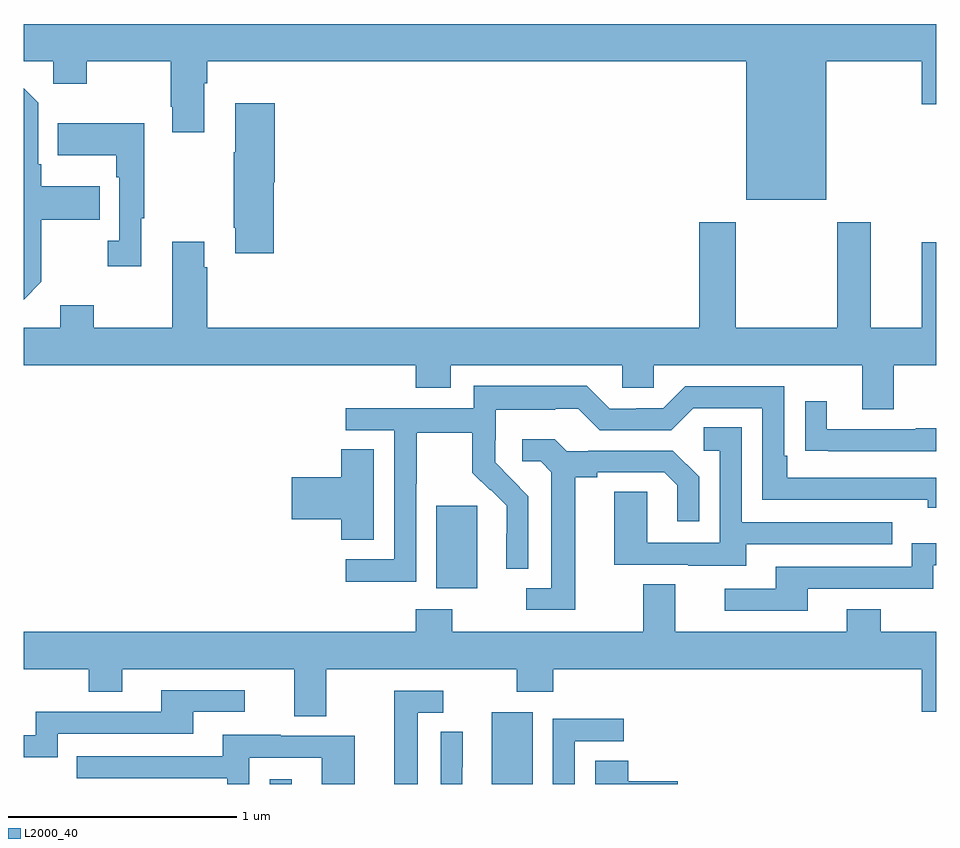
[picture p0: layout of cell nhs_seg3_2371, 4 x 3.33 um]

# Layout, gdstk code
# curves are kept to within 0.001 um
import gdstk
lib = gdstk.Library(unit=1e-6, precision=1e-09)
def R(c, l, rs):  # rectangles x0, y0, x1, y1
    for r in rs: c.add(gdstk.rectangle(r[:2], r[2:], *l))
def P(c, l, *ps):  # polygons
    for p in ps: c.add(gdstk.Polygon(p, *l))
L2000_40 = (2000, 40)

nhs_seg3_2371 = lib.new_cell('nhs_seg3_2371')
R(nhs_seg3_2371, L2000_40, [(234.078,712.4,234.175,712.42), (235.052,712.4,235.231,712.714), (234.809,713.258,234.988,713.619)])
P(nhs_seg3_2371, L2000_40, [(236.518,715.568),(236.936,715.568),(236.936,715.38),(237,715.38),(237,715.732),(233,715.732),(233,715.568),(233.13,715.568),(233.13,715.469),(233.277,715.469),(233.277,715.568),(233.644,715.568),(233.644,715.369),(233.651,715.369),(233.651,715.257),(233.791,715.257),(233.791,715.472),(233.804,715.472),(233.804,715.568),(236.168,715.568),(236.168,714.962),(236.518,714.962)],
  [(233.077,714.601),(233.077,714.874),(233.333,714.874),(233.333,715.021),(233.077,715.021),(233.077,715.117),(233.064,715.117),(233.064,715.386),(233,715.45),(233,714.524)],
  [(234.095,715.038),(234.1,715.038),(234.1,715.384),(233.927,715.384),(233.927,715.169),(233.92,715.169),(233.92,714.838),(233.927,714.838),(233.927,714.726),(234.095,714.726)],
  [(233.515,714.881),(233.527,714.881),(233.527,715.297),(233.149,715.297),(233.149,715.157),(233.406,715.157),(233.406,715.061),(233.418,715.061),(233.418,714.782),(233.367,714.782),(233.367,714.669),(233.515,714.669)],
  [(236.815,714.236),(237,714.236),(237,714.775),(236.936,714.775),(236.936,714.4),(236.713,714.4),(236.713,714.862),(236.566,714.862),(236.566,714.4),(236.121,714.4),(236.121,714.862),(235.961,714.862),(235.961,714.4),(233.804,714.4),(233.804,714.665),(233.791,714.665),(233.791,714.778),(233.651,714.778),(233.651,714.4),(233.307,714.4),(233.307,714.499),(233.159,714.499),(233.159,714.4),(233,714.4),(233,714.236),(234.719,714.236),(234.719,714.137),(234.871,714.137),(234.871,714.236),(235.623,714.236),(235.623,714.138),(235.761,714.138),(235.761,714.236),(236.675,714.236),(236.675,714.042),(236.815,714.042)],
  [(234.72,713.716),(234.723,713.716),(234.723,713.94),(234.967,713.94),(234.967,713.765),(235.044,713.688),(235.047,713.691),(235.118,713.621),(235.118,713.498),(235.116,713.498),(235.116,713.344),(235.212,713.344),(235.212,713.662),(235.066,713.81),(235.066,713.907),(235.068,713.907),(235.068,714.041),(235.331,714.041),(235.331,714.045),(235.431,714.045),(235.524,713.952),(235.839,713.952),(235.935,714.048),(236.238,714.048),(236.238,713.646),(236.963,713.646),(236.963,713.612),(237,713.612),(237,713.742),(236.347,713.742),(236.347,713.839),(236.334,713.839),(236.334,714.144),(235.899,714.144),(235.803,714.048),(235.685,714.048),(235.685,714.045),(235.569,714.045),(235.469,714.145),(234.972,714.145),(234.972,714.048),(234.411,714.048),(234.411,713.952),(234.624,713.952),(234.624,713.385),(234.411,713.385),(234.411,713.287),(234.72,713.287)],
  [(237,713.96),(236.911,713.96),(236.911,713.955),(236.521,713.955),(236.521,714.079),(236.425,714.079),(236.425,713.86),(236.527,713.86),(236.527,713.859),(237,713.859)],
  [(236.167,713.451),(236.807,713.451),(236.807,713.547),(236.148,713.547),(236.148,713.963),(235.98,713.963),(235.98,713.862),(236.052,713.862),(236.052,713.457),(235.734,713.457),(235.734,713.681),(235.589,713.681),(235.589,713.361),(235.913,713.361),(235.913,713.357),(236.167,713.357)],
  [(235.417,713.744),(235.513,713.744),(235.513,713.766),(235.808,713.766),(235.865,713.709),(235.865,713.553),(235.962,713.553),(235.962,713.746),(235.846,713.862),(235.474,713.862),(235.474,713.859),(235.38,713.859),(235.328,713.911),(235.185,713.911),(235.185,713.814),(235.266,713.814),(235.313,713.767),(235.313,713.259),(235.203,713.259),(235.203,713.163),(235.417,713.163)],
  [(234.535,713.867),(234.392,713.867),(234.392,713.744),(234.174,713.744),(234.174,713.561),(234.392,713.561),(234.392,713.47),(234.535,713.47)],
  [(236.437,713.256),(236.988,713.256),(236.988,713.358),(237,713.358),(237,713.455),(236.892,713.455),(236.892,713.352),(236.297,713.352),(236.297,713.256),(236.073,713.256),(236.073,713.16),(236.437,713.16)],
  [(234.325,712.904),(235.162,712.904),(235.162,712.805),(235.322,712.805),(235.322,712.904),(236.936,712.904),(236.936,712.716),(237,712.716),(237,713.068),(236.757,713.068),(236.757,713.167),(236.609,713.167),(236.609,713.068),(235.855,713.068),(235.855,713.276),(235.715,713.276),(235.715,713.068),(234.879,713.068),(234.879,713.167),(234.719,713.167),(234.719,713.068),(233,713.068),(233,712.904),(233.284,712.904),(233.284,712.805),(233.431,712.805),(233.431,712.904),(234.185,712.904),(234.185,712.696),(234.325,712.696)],
  [(233.148,712.62),(233.743,712.62),(233.743,712.716),(233.968,712.716),(233.968,712.812),(233.603,712.812),(233.603,712.716),(233.052,712.716),(233.052,712.614),(233,712.614),(233,712.517),(233.148,712.517)],
  [(234.727,712.713),(234.838,712.713),(234.838,712.809),(234.623,712.809),(234.623,712.4),(234.727,712.4)],
  [(235.416,712.587),(235.63,712.587),(235.63,712.686),(235.32,712.686),(235.32,712.4),(235.416,712.4)],
  [(234.923,712.474),(234.924,712.474),(234.924,712.628),(234.828,712.628),(234.828,712.4),(234.923,712.4)],
  [(233.988,712.515),(234.306,712.515),(234.306,712.4),(234.451,712.4),(234.451,712.611),(234.127,712.611),(234.127,712.615),(233.873,712.615),(233.873,712.521),(233.233,712.521),(233.233,712.425),(233.892,712.425),(233.892,712.4),(233.988,712.4)],
  [(235.867,712.412),(235.649,712.412),(235.649,712.502),(235.505,712.502),(235.505,712.4),(235.867,712.4)])

lib.write_gds('nhs_seg3_2371.gds')
